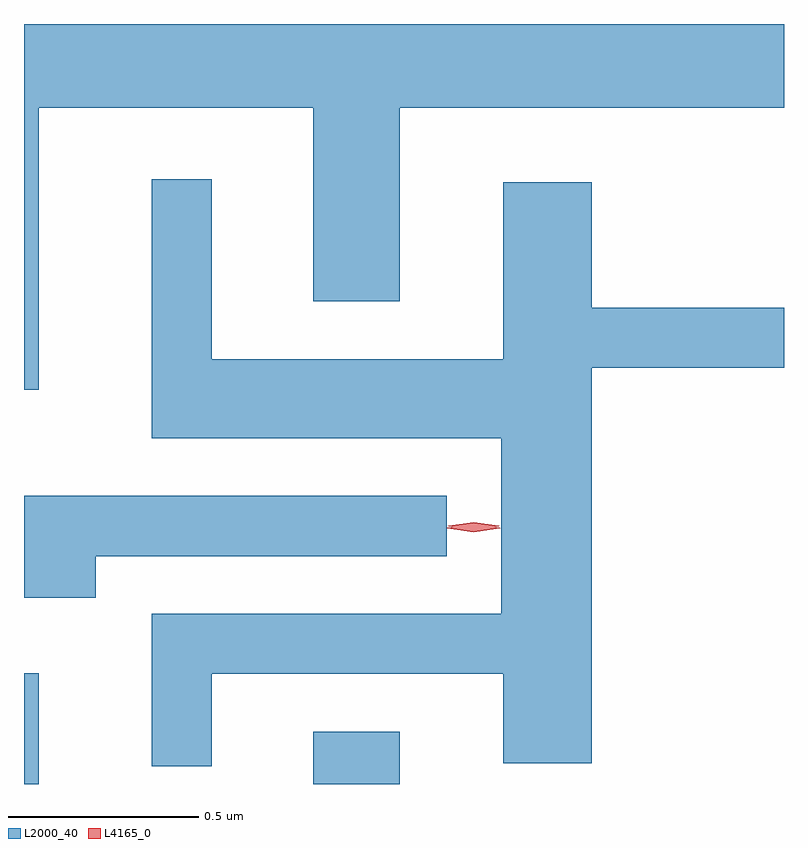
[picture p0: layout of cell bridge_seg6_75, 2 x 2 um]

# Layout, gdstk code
import gdstk
lib = gdstk.Library(unit=1e-6, precision=1e-09)
def R(c, l, rs):  # rectangles x0, y0, x1, y1
    for r in rs: c.add(gdstk.rectangle(r[:2], r[2:], *l))
def P(c, l, *ps):  # polygons
    for p in ps: c.add(gdstk.Polygon(p, *l))
L2000_40 = (2000, 40)
L4165_0 = (4165, 0)

bridge_seg6_75 = lib.new_cell('bridge_seg6_75')
R(bridge_seg6_75, L2000_40, [(1400.22,1641.496,1400.259,1641.788), (1400.981,1641.496,1401.209,1641.634)])
P(bridge_seg6_75, L2000_40, [(1400.259,1643.276),(1400.981,1643.276),(1400.981,1642.766),(1401.209,1642.766),(1401.209,1643.276),(1402.22,1643.276),(1402.22,1643.496),(1400.22,1643.496),(1400.22,1642.533),(1400.259,1642.533)],
  [(1400.714,1641.786),(1401.481,1641.786),(1401.481,1641.551),(1401.714,1641.551),(1401.714,1642.591),(1402.22,1642.591),(1402.22,1642.749),(1401.714,1642.749),(1401.714,1643.079),(1401.481,1643.079),(1401.481,1642.614),(1400.714,1642.614),(1400.714,1643.088),(1400.556,1643.088),(1400.556,1642.406),(1401.476,1642.406),(1401.476,1641.944),(1400.556,1641.944),(1400.556,1641.543),(1400.714,1641.543)],
  [(1400.409,1642.096),(1401.333,1642.096),(1401.333,1642.254),(1400.22,1642.254),(1400.22,1641.986),(1400.409,1641.986)])
P(bridge_seg6_75, L4165_0, [(1401.404,1642.165),(1401.338,1642.174),(1401.337,1642.175),(1401.338,1642.175),(1401.404,1642.185),(1401.469,1642.175),(1401.47,1642.175),(1401.469,1642.174)],
  [(1401.403,1642.159),(1401.334,1642.169),(1401.333,1642.17),(1401.334,1642.17),(1401.403,1642.179),(1401.472,1642.17),(1401.473,1642.169),(1401.472,1642.169)])

lib.write_gds('bridge_seg6_75.gds')
